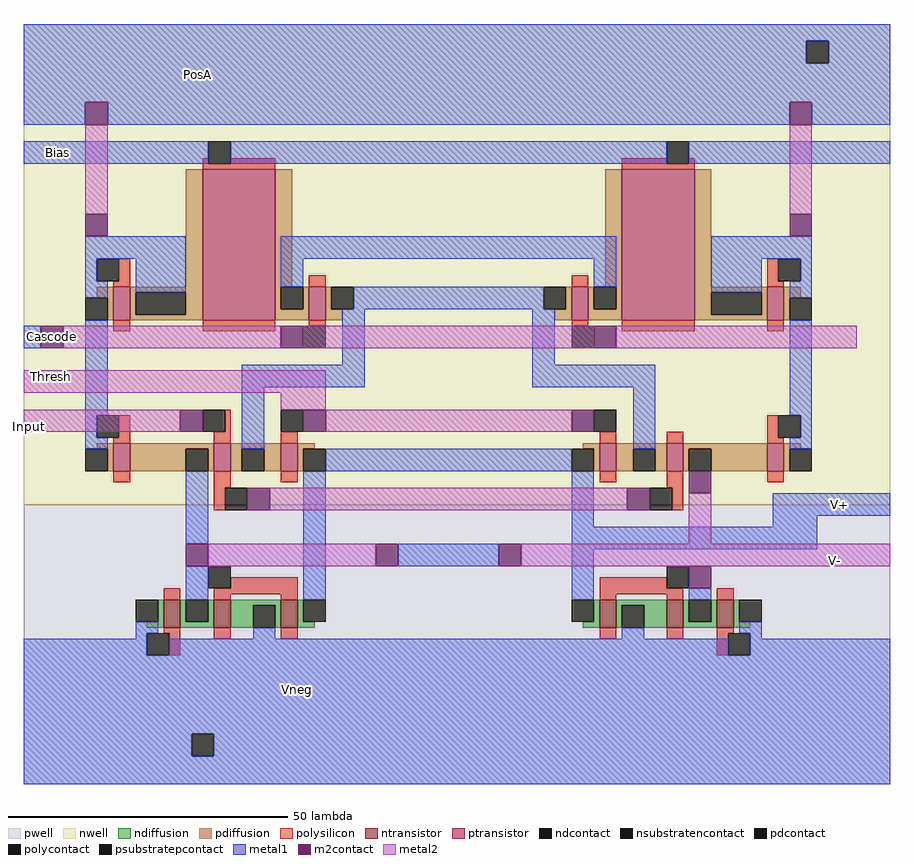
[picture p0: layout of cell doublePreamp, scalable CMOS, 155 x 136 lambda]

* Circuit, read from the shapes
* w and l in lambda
.subckt doublePreamp Bias Cascode Input PosA Thresh V+ V- Vneg
M1 V- Vneg Vneg Vneg nfet w=5 l=3 m=2
M2 Vneg V- V- Vneg nfet w=5 l=3 m=2
M3 V+ V- Vneg Vneg nfet w=5 l=3 m=2
M4 V- PosA PosA PosA pfet w=5 l=3 m=2
M5 PosA PosA PosA PosA pfet w=6 l=3 m=2
M6 n1 Bias PosA PosA pfet w=27 l=13 m=2
M7 n2 Input V- PosA pfet w=5 l=3 m=2
M8 V+ Thresh n2 PosA pfet w=5 l=3 m=2
M9 n2 Cascode n1 PosA pfet w=6 l=3 m=2
.ends

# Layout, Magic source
magic
tech scmos
<< nwell >>
rect -13 16 142 102
<< pwell >>
rect -13 -34 142 16
<< ntransistor >>
rect 12 -6 15 -1
rect 21 -6 24 -1
rect 33 -6 36 -1
rect 90 -6 93 -1
rect 102 -6 105 -1
rect 111 -6 114 -1
<< ptransistor >>
rect 3 49 6 55
rect 19 49 32 76
rect 38 49 41 55
rect 85 49 88 55
rect 94 49 107 76
rect 120 49 123 55
rect 3 22 6 27
rect 21 22 24 27
rect 33 22 36 27
rect 90 22 93 27
rect 102 22 105 27
rect 120 22 123 27
<< ndiffusion >>
rect 11 -5 12 -1
rect 9 -6 12 -5
rect 15 -5 16 -1
rect 20 -5 21 -1
rect 15 -6 21 -5
rect 24 -2 33 -1
rect 24 -6 28 -2
rect 32 -6 33 -2
rect 36 -5 37 -1
rect 89 -5 90 -1
rect 36 -6 39 -5
rect 87 -6 90 -5
rect 93 -2 102 -1
rect 93 -6 94 -2
rect 98 -6 102 -2
rect 105 -5 106 -1
rect 110 -5 111 -1
rect 105 -6 111 -5
rect 114 -5 115 -1
rect 114 -6 117 -5
<< pdiffusion >>
rect 16 55 19 76
rect 0 53 3 55
rect 2 49 3 53
rect 6 54 19 55
rect 6 50 7 54
rect 16 50 19 54
rect 6 49 19 50
rect 32 55 35 76
rect 91 55 94 76
rect 32 51 33 55
rect 37 51 38 55
rect 32 49 38 51
rect 41 51 42 55
rect 84 51 85 55
rect 41 49 44 51
rect 82 49 85 51
rect 88 51 89 55
rect 93 51 94 55
rect 88 49 94 51
rect 107 55 110 76
rect 107 54 120 55
rect 107 50 110 54
rect 119 50 120 54
rect 107 49 120 50
rect 123 53 126 55
rect 123 49 124 53
rect 0 26 3 27
rect 2 22 3 26
rect 6 26 21 27
rect 6 22 16 26
rect 20 22 21 26
rect 24 26 33 27
rect 24 22 26 26
rect 30 22 33 26
rect 36 26 39 27
rect 87 26 90 27
rect 36 22 37 26
rect 89 22 90 26
rect 93 26 102 27
rect 93 22 96 26
rect 100 22 102 26
rect 105 26 120 27
rect 105 22 106 26
rect 110 22 120 26
rect 123 26 126 27
rect 123 22 124 26
<< ndcontact >>
rect 7 -5 11 -1
rect 16 -5 20 -1
rect 28 -6 32 -2
rect 37 -5 41 -1
rect 85 -5 89 -1
rect 94 -6 98 -2
rect 106 -5 110 -1
rect 115 -5 119 -1
<< pdcontact >>
rect -2 49 2 53
rect 7 50 16 54
rect 33 51 37 55
rect 42 51 46 55
rect 80 51 84 55
rect 89 51 93 55
rect 110 50 119 54
rect 124 49 128 53
rect -2 22 2 26
rect 16 22 20 26
rect 26 22 30 26
rect 37 22 41 26
rect 85 22 89 26
rect 96 22 100 26
rect 106 22 110 26
rect 124 22 128 26
<< psubstratepcontact >>
rect 17 -29 21 -25
<< nsubstratencontact >>
rect 127 95 131 99
<< polysilicon >>
rect 19 77 20 78
rect 24 77 32 78
rect 19 76 32 77
rect 94 77 102 78
rect 106 77 107 78
rect 94 76 107 77
rect 4 56 6 60
rect 3 55 6 56
rect 38 55 41 57
rect 85 55 88 57
rect 120 56 122 60
rect 120 55 123 56
rect 3 47 6 49
rect 19 47 32 49
rect 38 48 41 49
rect 85 48 88 49
rect 94 47 107 49
rect 120 47 123 49
rect 4 28 6 32
rect 23 29 24 33
rect 3 27 6 28
rect 21 27 24 29
rect 33 27 36 29
rect 90 27 93 29
rect 102 27 105 29
rect 120 28 122 32
rect 120 27 123 28
rect 3 20 6 22
rect 21 19 24 22
rect 33 20 36 22
rect 90 20 93 22
rect 102 19 105 22
rect 120 20 123 22
rect 21 15 23 19
rect 103 15 105 19
rect 24 1 36 3
rect 12 -1 15 1
rect 21 0 36 1
rect 21 -1 24 0
rect 33 -1 36 0
rect 90 1 102 3
rect 90 0 105 1
rect 90 -1 93 0
rect 102 -1 105 0
rect 111 -1 114 1
rect 12 -7 15 -6
rect 13 -11 15 -7
rect 21 -8 24 -6
rect 33 -8 36 -6
rect 90 -8 93 -6
rect 102 -8 105 -6
rect 111 -7 114 -6
rect 111 -11 113 -7
<< polycontact >>
rect 20 77 24 81
rect 102 77 106 81
rect 0 56 4 60
rect 122 56 126 60
rect 37 44 41 48
rect 85 44 89 48
rect 0 28 4 32
rect 19 29 23 33
rect 33 29 37 33
rect 89 29 93 33
rect 122 28 126 32
rect 23 15 27 19
rect 99 15 103 19
rect 20 1 24 5
rect 102 1 106 5
rect 9 -11 13 -7
rect 113 -11 117 -7
<< metal1 >>
rect -13 99 142 102
rect -13 95 127 99
rect 131 95 142 99
rect -13 88 142 95
rect -13 84 -2 88
rect 2 84 124 88
rect 128 84 142 88
rect -13 77 20 81
rect 24 77 102 81
rect 106 77 142 81
rect -2 60 16 64
rect -2 56 0 60
rect -2 53 2 56
rect 7 54 16 60
rect 33 60 93 64
rect 33 55 37 60
rect 89 55 93 60
rect 46 51 80 55
rect 110 60 128 64
rect 110 54 119 60
rect 126 56 128 60
rect -13 44 -10 48
rect -2 32 2 49
rect 44 41 48 51
rect 26 37 48 41
rect 78 41 82 51
rect 124 53 128 56
rect 78 37 100 41
rect -2 28 0 32
rect -2 26 2 28
rect 26 26 30 37
rect 96 26 100 37
rect 124 32 128 49
rect 126 28 128 32
rect 124 26 128 28
rect 41 22 85 26
rect 16 9 20 22
rect 16 -1 20 5
rect 37 -1 41 22
rect 85 12 89 22
rect 121 14 142 18
rect 121 12 129 14
rect 54 5 72 9
rect 85 8 129 12
rect 7 -7 11 -5
rect 85 -1 89 8
rect 106 -1 110 1
rect 7 -8 9 -7
rect -13 -11 9 -8
rect 28 -8 32 -6
rect 94 -8 98 -6
rect 115 -7 119 -5
rect 13 -11 113 -8
rect 117 -8 119 -7
rect 117 -11 142 -8
rect -13 -25 142 -11
rect -13 -29 17 -25
rect 21 -29 142 -25
rect -13 -34 142 -29
<< m2contact >>
rect -2 84 2 88
rect 124 84 128 88
rect -2 64 2 68
rect 124 64 128 68
rect -10 44 -6 48
rect 33 44 37 48
rect 89 44 93 48
rect 15 29 19 33
rect 37 29 41 33
rect 85 29 89 33
rect 27 15 31 19
rect 16 5 20 9
rect 95 15 99 19
rect 106 18 110 22
rect 50 5 54 9
rect 72 5 76 9
rect 106 1 110 5
<< metal2 >>
rect -2 68 2 84
rect 124 68 128 84
rect -6 44 33 48
rect 37 44 89 48
rect 93 44 136 48
rect -13 36 41 40
rect 33 33 41 36
rect -13 29 15 33
rect 41 29 85 33
rect 31 15 95 19
rect 106 9 110 18
rect 20 5 50 9
rect 76 5 142 9
<< labels >>
rlabel metal1 133 16 133 16 1 V+
rlabel metal2 132 6 132 6 1 V-
rlabel metal1 -7 79 -7 79 4 Bias
rlabel m2contact -8 46 -8 46 3 Cascode
rlabel metal2 -8 39 -8 39 3 Thresh
rlabel metal1 36 -17 36 -17 1 Vneg
rlabel metal1 18 93 18 93 1 PosA
rlabel metal2 -12 30 -12 30 3 Input
<< end >>
